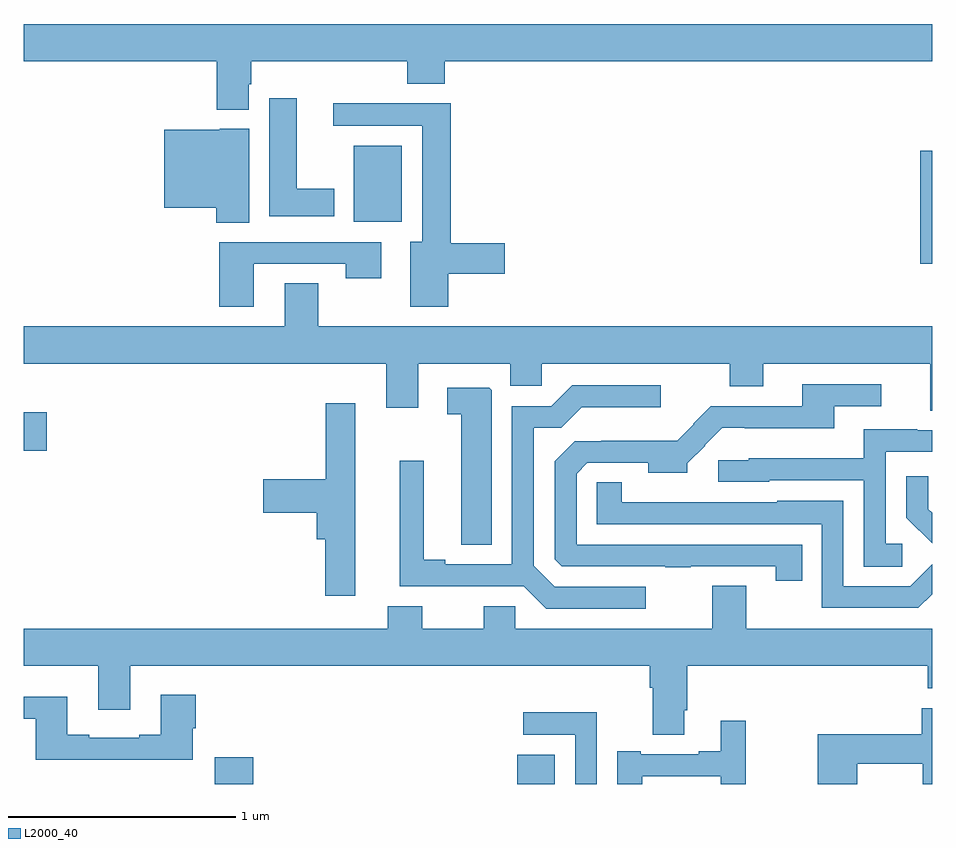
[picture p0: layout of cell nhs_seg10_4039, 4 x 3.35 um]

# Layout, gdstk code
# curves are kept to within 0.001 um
import gdstk
lib = gdstk.Library(unit=1e-6, precision=1e-09)
def R(c, l, rs):  # rectangles x0, y0, x1, y1
    for r in rs: c.add(gdstk.rectangle(r[:2], r[2:], *l))
def P(c, l, *ps):  # polygons
    for p in ps: c.add(gdstk.Polygon(p, *l))
L2000_40 = (2000, 40)

nhs_seg10_4039 = lib.new_cell('nhs_seg10_4039')
R(nhs_seg10_4039, L2000_40, [(335.84,1262.5,336.011,1262.617), (337.172,1262.5,337.339,1262.629), (335,1263.968,335.101,1264.138), (338.948,1264.791,339,1265.29), (336.452,1264.976,336.664,1265.311)])
P(nhs_seg10_4039, L2000_40, [(335.989,1265.583),(336.002,1265.583),(336.002,1265.684),(336.689,1265.684),(336.689,1265.585),(336.854,1265.585),(336.854,1265.684),(339,1265.684),(339,1265.848),(335,1265.848),(335,1265.684),(335.849,1265.684),(335.849,1265.471),(335.989,1265.471)],
  [(336.367,1265.122),(336.202,1265.122),(336.202,1265.521),(336.08,1265.521),(336.08,1265),(336.367,1265)],
  [(336.868,1264.748),(337.117,1264.748),(337.117,1264.883),(336.881,1264.883),(336.881,1265.498),(336.363,1265.498),(336.363,1265.4),(336.755,1265.4),(336.755,1264.888),(336.701,1264.888),(336.701,1264.602),(336.868,1264.602)],
  [(335.992,1265.386),(335.862,1265.386),(335.862,1265.383),(335.618,1265.383),(335.618,1265.039),(335.846,1265.039),(335.846,1264.972),(335.992,1264.972)],
  [(336.013,1264.791),(336.418,1264.791),(336.418,1264.728),(336.574,1264.728),(336.574,1264.887),(335.861,1264.887),(335.861,1264.602),(336.013,1264.602)],
  [(339,1264.516),(336.297,1264.516),(336.297,1264.706),(336.149,1264.706),(336.149,1264.516),(335,1264.516),(335,1264.352),(336.596,1264.352),(336.596,1264.158),(336.736,1264.158),(336.736,1264.352),(337.142,1264.352),(337.142,1264.254),(337.281,1264.254),(337.281,1264.352),(338.11,1264.352),(338.11,1264.253),(338.257,1264.253),(338.257,1264.352),(338.993,1264.352),(338.993,1264.144),(339,1264.144)],
  [(338.429,1263.555),(337.434,1263.555),(337.434,1263.867),(337.482,1263.915),(337.751,1263.915),(337.751,1263.872),(337.922,1263.872),(337.922,1263.912),(338.001,1263.99),(337.998,1263.993),(338.075,1264.07),(338.176,1264.07),(338.176,1264.067),(338.569,1264.067),(338.569,1264.164),(338.776,1264.164),(338.776,1264.26),(338.429,1264.26),(338.429,1264.164),(338.025,1264.164),(337.949,1264.087),(337.951,1264.085),(337.877,1264.012),(337.543,1264.012),(337.543,1264.01),(337.427,1264.01),(337.338,1263.921),(337.338,1263.489),(337.368,1263.459),(337.825,1263.459),(337.825,1263.454),(337.937,1263.454),(337.937,1263.459),(338.311,1263.459),(338.311,1263.396),(338.429,1263.396)],
  [(337.738,1263.369),(337.338,1263.369),(337.245,1263.462),(337.245,1264.069),(337.366,1264.069),(337.457,1264.16),(337.804,1264.16),(337.804,1264.257),(337.416,1264.257),(337.323,1264.164),(337.149,1264.164),(337.149,1263.468),(336.856,1263.468),(336.856,1263.488),(336.76,1263.488),(336.76,1263.925),(336.656,1263.925),(336.656,1263.372),(337.202,1263.372),(337.301,1263.273),(337.738,1263.273)],
  [(337.06,1264.235),(337.05,1264.245),(336.864,1264.245),(336.864,1264.129),(336.926,1264.129),(336.926,1263.553),(337.06,1263.553)],
  [(336.46,1264.177),(336.329,1264.177),(336.329,1263.842),(336.054,1263.842),(336.054,1263.695),(336.29,1263.695),(336.29,1263.578),(336.326,1263.578),(336.326,1263.33),(336.46,1263.33)],
  [(338.869,1263.558),(338.796,1263.558),(338.796,1263.963),(339,1263.963),(339,1264.059),(338.935,1264.059),(338.935,1264.063),(338.699,1264.063),(338.699,1263.934),(338.193,1263.934),(338.193,1263.927),(338.058,1263.927),(338.058,1263.831),(338.283,1263.831),(338.283,1263.837),(338.7,1263.837),(338.7,1263.457),(338.869,1263.457)],
  [(339,1263.694),(338.983,1263.711),(338.983,1263.856),(338.886,1263.856),(338.886,1263.674),(339,1263.56)],
  [(339,1263.336),(339,1263.468),(338.904,1263.372),(338.61,1263.372),(338.61,1263.748),(338.319,1263.748),(338.319,1263.741),(337.633,1263.742),(337.633,1263.83),(337.524,1263.83),(337.524,1263.645),(338.514,1263.645),(338.514,1263.276),(338.94,1263.276)],
  [(337.909,1262.824),(337.922,1262.824),(337.922,1263.02),(338.981,1263.02),(338.981,1262.921),(339,1262.921),(339,1263.184),(338.181,1263.184),(338.181,1263.374),(338.033,1263.374),(338.033,1263.184),(337.164,1263.184),(337.164,1263.282),(337.025,1263.282),(337.025,1263.184),(336.754,1263.184),(336.754,1263.283),(336.602,1263.283),(336.602,1263.184),(335,1263.184),(335,1263.02),(335.327,1263.02),(335.327,1262.826),(335.467,1262.826),(335.467,1263.02),(337.757,1263.02),(337.757,1262.924),(337.769,1262.924),(337.769,1262.716),(337.909,1262.716)],
  [(335.743,1262.745),(335.756,1262.745),(335.756,1262.893),(335.603,1262.893),(335.603,1262.716),(335.507,1262.716),(335.507,1262.703),(335.287,1262.703),(335.287,1262.716),(335.191,1262.716),(335.191,1262.884),(335,1262.884),(335,1262.787),(335.051,1262.787),(335.051,1262.606),(335.743,1262.606)],
  [(338.67,1262.59),(338.959,1262.59),(338.959,1262.5),(339,1262.5),(339,1262.834),(338.954,1262.834),(338.954,1262.719),(338.497,1262.719),(338.497,1262.5),(338.67,1262.5)],
  [(337.524,1262.816),(337.2,1262.816),(337.2,1262.718),(337.428,1262.718),(337.428,1262.5),(337.524,1262.5)],
  [(337.723,1262.535),(338.07,1262.535),(338.07,1262.5),(338.179,1262.5),(338.179,1262.779),(338.069,1262.779),(338.069,1262.644),(337.973,1262.644),(337.973,1262.631),(337.717,1262.631),(337.717,1262.644),(337.613,1262.644),(337.613,1262.5),(337.723,1262.5)])

lib.write_gds('nhs_seg10_4039.gds')
